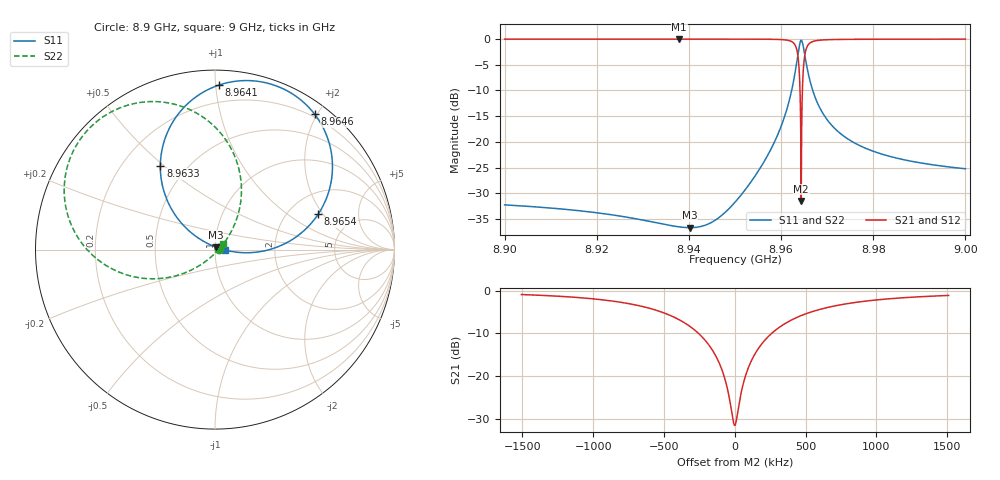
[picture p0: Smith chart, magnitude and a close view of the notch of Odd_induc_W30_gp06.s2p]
! Sonnet Data File
! From: emgraph Version : 16.52
! From Project: Resonator2_cp_varyW
! Data is De-embedded
! Data File Written: 10/09/2017 07:41:30
!< HDATE 10/08/2017 22:10:33
!< MDATE 10/08/2017 22:10:33
!< PARAMS
!< Length = 400.0
!< Pwid1 = 2000.0
!< Pwid2 = 2000.0
!< Air_gap = 18.0
!< Width = 30.0
!< gap = 6.0
!< END PARAMS
# GHZ S MA R 43.05000
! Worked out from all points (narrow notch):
!   1595 points, 8.9 GHz to 9 GHz, reference 43.05 ohm
!   highest |S21| = 0.00 dB at 8.9379 GHz (marker M1); lowest = -31.5 dB at 8.9644 GHz (marker M2)
!   notch at M2: 31.5 dB deep, 253 kHz wide at half that depth
!   lowest |S11| = -36.7 dB at 8.9402 GHz (marker M3), VSWR 1.03, Z = 43.5 + j1.19 ohm
!   |S11| at or under -10 dB: start of sweep to 8.9623 GHz; 8.966868 GHz to end of sweep
!   |S22| runs from -36.7 to -0.2 dB; largest |S21 - S12| = 0
!   S11 on the Smith chart (normalised r, x): 8.9 GHz: 1.05, +0.02; 8.9633 GHz: 0.36, +0.49; 8.9641 GHz: 0.09, +1.02; 8.9646 GHz: 0.16, +1.97; 8.9654 GHz: 2.87, +1.80; 9 GHz: 1.12, -0.01
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8.9  0.02434 17.8  0.9997 -75.5  0.9997 -75.5  0.02434 11.3
!< P1 F=8.9 Eeff=(5.1612639 -2.2548e-5) Z0=(43.0590329 9.5502e-5) R=0.0 C=0.0
!< P2 F=8.9 Eeff=(5.1612639 -2.2548e-5) Z0=(43.0590329 9.5502e-5) R=0.0 C=0.0
8.9167  0.02123 24.0  0.9998 -75.8  0.9998 -75.8  0.02122 4.4
8.9334  0.01615 44.7  0.9999 -76.5  0.9999 -76.5  0.01612 -17.5
8.9379  0.01486 59.0  0.9999 -76.7  0.9999 -76.7  0.01482 -32.4
8.9402  0.01461 69.3  0.9999 -76.9  0.9999 -76.9  0.01455 -43.1
8.95  0.02582 123.7  0.9996 -78.2  0.9996 -78.2  0.02573 -100.4
8.955994  0.06068 142.0  0.9979 -80.4  0.9979 -80.4  0.06057 -123.2
8.9604  0.158 144.8  0.9865 -86.1  0.9865 -86.1  0.1578 -137.7
8.962297  0.3166 137.8  0.9451 -95.5  0.9451 -95.5  0.3163 -150.1
8.963299  0.5566 123.2  0.8197 -110.9  0.8197 -110.9  0.5562 -167.3
8.963775  0.7683 106.5  0.6136 -127.2  0.6136 -127.2  0.7676 174.9
8.96409  0.9164 88.7  0.3377 -143.1  0.3377 -143.1  0.9157 156.4
8.964258  0.9645 77.1  0.1393 -148.3  0.1393 -148.3  0.9637 144.4
8.964365  0.9738 69.3  0.02656 -75.5  0.02656 -75.5  0.9731 136.3
8.964458  0.9672 62.7  0.1209 -6.4  0.1209 -6.4  0.9664 129.5
8.96459  0.9364 53.6  0.2767 -8.4  0.2767 -8.4  0.9357 120.2
8.9649  0.8083 35.9  0.5594 -23.3  0.5594 -23.3  0.8077 101.8
8.96538  0.608 19.0  0.7822 -39.7  0.7822 -39.7  0.6076 83.8
8.966681  0.3366 1.8  0.9389 -57.5  0.9389 -57.5  0.3364 64.2
8.972509  0.1243 -6.8  0.992 -70.1  0.992 -70.1  0.1242 46.8
8.9834  0.07255 -5.1  0.9973 -73.2  0.9973 -73.2  0.07253 38.8
9  0.05469 -2.5  0.9985 -74.4  0.9985 -74.4  0.05468 33.7
